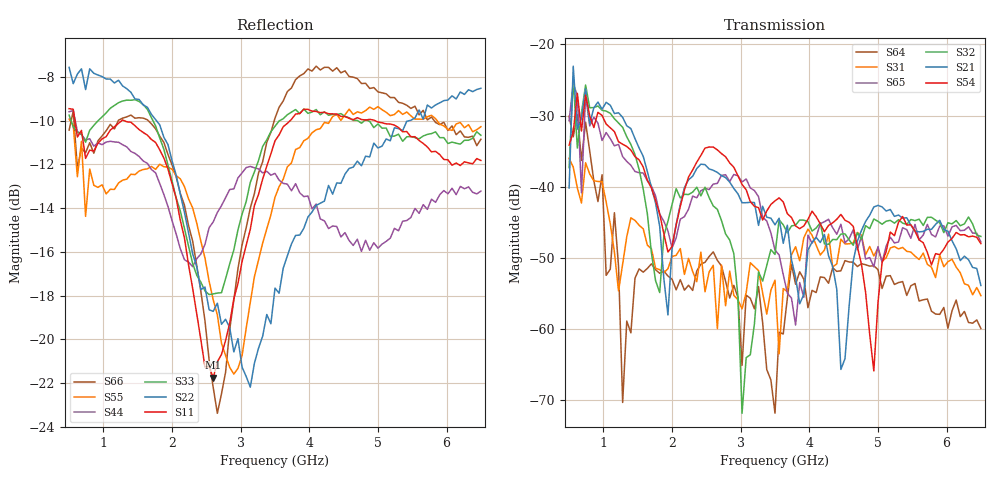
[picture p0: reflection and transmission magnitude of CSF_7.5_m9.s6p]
!Keysight Technologies,M9804A,MY58100912,A.14.10.03
!Date: Thursday, April 27, 2023 10:28:33
!Correction: S11(C  6-Port  )
!S12(C  6-Port  )
!S13(C  6-Port  )
!S14(C  6-Port  )
!S15(C  6-Port  )
!S16(C  6-Port  )
!S21(C  6-Port  )
!S22(C  6-Port  )
!S23(C  6-Port  )
!S24(C  6-Port  )
!S25(C  6-Port  )
!S26(C  6-Port  )
!S31(C  6-Port  )
!S32(C  6-Port  )
!S33(C  6-Port  )
!S34(C  6-Port  )
!S35(C  6-Port  )
!S36(C  6-Port  )
!S41(C  6-Port  )
!S42(C  6-Port  )
!S43(C  6-Port  )
!S44(C  6-Port  )
!S45(C  6-Port  )
!S46(C  6-Port  )
!S51(C  6-Port  )
!S52(C  6-Port  )
!S53(C  6-Port  )
!S54(C  6-Port  )
!S55(C  6-Port  )
!S56(C  6-Port  )
!S61(C  6-Port  )
!S62(C  6-Port  )
!S63(C  6-Port  )
!S64(C  6-Port  )
!S65(C  6-Port  )
!S66(C  6-Port  )
!S6P File: Measurement: :
# Hz S  RI  R 50
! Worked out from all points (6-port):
!   101 points, 500 MHz to 6.5 GHz, reference 50 ohm
!   strongest paths, dB at 500 MHz, 2 GHz, 3.5 GHz, 5 GHz, 6.5 GHz:
!     S54: -34.2, -48.4, -42.0, -56.3, -48.0
!     S21: -40.2, -48.6, -45.4, -42.6, -53.9
!     S32: -37.3, -42.5, -49.5, -44.9, -47.0
!     S65: -30.7, -48.6, -48.9, -48.4, -47.8
!     S31: -36.0, -49.8, -53.1, -48.6, -55.3
!     S64: -30.1, -53.0, -71.8, -51.7, -59.9
!   lowest |S11| = -21.7 dB at 2.6 GHz (marker M1), VSWR 1.18, Z = 42.7 + j1.98 ohm
!   |S11| at or under -10 dB: 584.5 MHz to 1.268 GHz (683.2 MHz wide, 73.8 % of centre); 1.303 GHz to 3.721 GHz (2.418 GHz wide, 96.3 % of centre); 4.956 GHz to end of sweep
